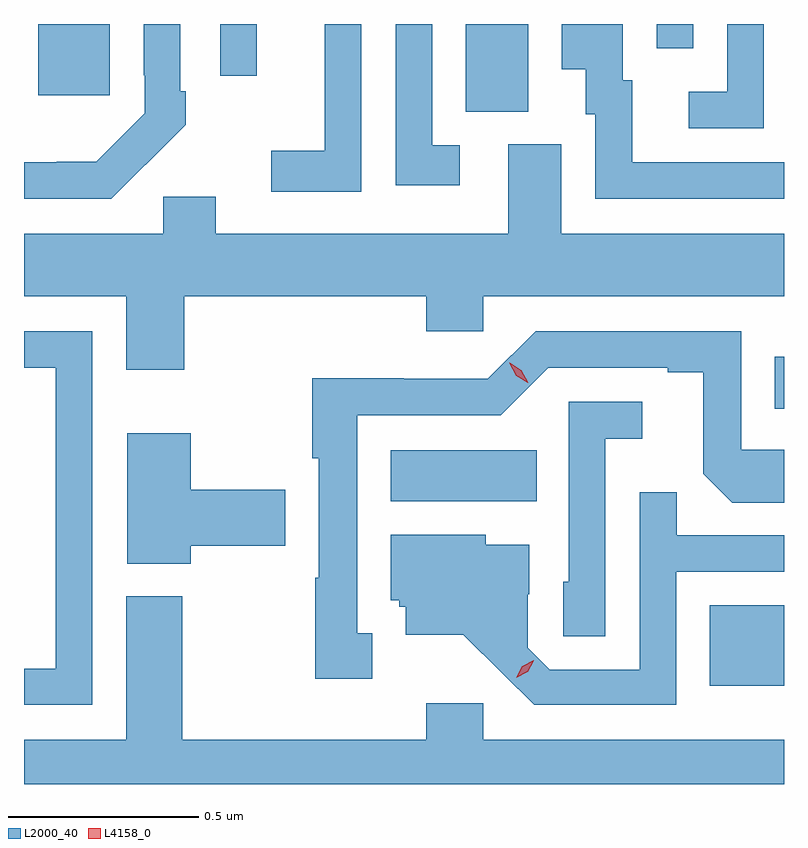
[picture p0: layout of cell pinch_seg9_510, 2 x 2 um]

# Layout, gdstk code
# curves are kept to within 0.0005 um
import gdstk
lib = gdstk.Library(unit=1e-6, precision=1e-09)
def R(c, l, rs):  # rectangles x0, y0, x1, y1
    for r in rs: c.add(gdstk.rectangle(r[:2], r[2:], *l))
def P(c, l, *ps):  # polygons
    for p in ps: c.add(gdstk.Polygon(p, *l))
L2000_40 = (2000, 40)
L4158_0 = (4158, 0)

pinch_seg9_510 = lib.new_cell('pinch_seg9_510')
R(pinch_seg9_510, L2000_40, [(295.61,1202.054,295.805,1202.266), (294.77,1202.54,295.154,1202.674), (295.781,1202.784,295.805,1202.92), (294.968,1203.565,295.132,1203.796), (293.843,1203.609,294.031,1203.796), (294.321,1203.66,294.417,1203.796), (295.47,1203.732,295.566,1203.796)])
P(pinch_seg9_510, L2000_40, [(295.805,1203.432),(295.405,1203.432),(295.405,1203.648),(295.381,1203.648),(295.381,1203.796),(295.22,1203.796),(295.22,1203.677),(295.283,1203.677),(295.283,1203.558),(295.308,1203.558),(295.308,1203.336),(295.805,1203.336)],
  [(294.125,1203.427),(294.126,1203.426),(294.231,1203.531),(294.231,1203.619),(294.216,1203.619),(294.216,1203.796),(294.12,1203.796),(294.12,1203.661),(294.123,1203.661),(294.123,1203.561),(293.995,1203.433),(293.891,1203.433),(293.891,1203.432),(293.805,1203.432),(293.805,1203.336),(294.034,1203.336)],
  [(295.752,1203.796),(295.656,1203.796),(295.656,1203.618),(295.554,1203.618),(295.554,1203.522),(295.752,1203.522)],
  [(294.693,1203.796),(294.596,1203.796),(294.596,1203.463),(294.456,1203.463),(294.456,1203.354),(294.693,1203.354)],
  [(294.952,1203.477),(294.879,1203.477),(294.879,1203.796),(294.783,1203.796),(294.783,1203.372),(294.952,1203.372)],
  [(294.227,1203.08),(294.863,1203.08),(294.863,1202.987),(295.014,1202.987),(295.014,1203.08),(295.805,1203.08),(295.805,1203.244),(295.219,1203.244),(295.219,1203.48),(295.079,1203.48),(295.079,1203.244),(294.31,1203.244),(294.31,1203.342),(294.171,1203.342),(294.171,1203.244),(293.805,1203.244),(293.805,1203.08),(294.074,1203.08),(294.074,1202.886),(294.227,1202.886)],
  [(293.985,1202.988),(293.805,1202.988),(293.805,1202.892),(293.889,1202.892),(293.889,1202.099),(293.805,1202.099),(293.805,1202.004),(293.985,1202.004)],
  [(294.721,1202.193),(294.682,1202.193),(294.682,1202.766),(295.059,1202.766),(295.185,1202.892),(295.499,1202.892),(295.499,1202.88),(295.593,1202.88),(295.593,1202.612),(295.669,1202.536),(295.805,1202.536),(295.805,1202.676),(295.692,1202.676),(295.692,1202.988),(295.152,1202.988),(295.026,1202.862),(294.804,1202.862),(294.804,1202.864),(294.564,1202.864),(294.564,1202.653),(294.581,1202.653),(294.581,1202.339),(294.571,1202.339),(294.571,1202.073),(294.721,1202.073)],
  [(295.335,1202.705),(295.432,1202.705),(295.432,1202.802),(295.239,1202.802),(295.239,1202.328),(295.224,1202.328),(295.224,1202.185),(295.335,1202.185)],
  [(294.244,1202.423),(294.493,1202.423),(294.493,1202.57),(294.244,1202.57),(294.244,1202.719),(294.077,1202.719),(294.077,1202.375),(294.244,1202.375)],
  [(295.521,1202.355),(295.805,1202.355),(295.805,1202.451),(295.523,1202.451),(295.523,1202.564),(295.425,1202.564),(295.425,1202.097),(295.188,1202.097),(295.131,1202.154),(295.131,1202.296),(295.135,1202.296),(295.135,1202.425),(295.02,1202.425),(295.02,1202.452),(294.77,1202.452),(294.77,1202.28),(294.792,1202.28),(294.792,1202.262),(294.809,1202.262),(294.809,1202.189),(294.961,1202.189),(295.148,1202.004),(295.521,1202.004)],
  [(295.805,1201.912),(295.014,1201.912),(295.014,1202.008),(294.863,1202.008),(294.863,1201.912),(294.222,1201.912),(294.222,1202.29),(294.074,1202.29),(294.074,1201.912),(293.805,1201.912),(293.805,1201.796),(295.805,1201.796)])
P(pinch_seg9_510, L4158_0, [(295.1,1202.076),(295.1,1202.076),(295.116,1202.106),(295.146,1202.122),(295.147,1202.122),(295.147,1202.121),(295.13,1202.092),(295.1,1202.076)],
  [(295.131,1202.852),(295.1,1202.871),(295.082,1202.904),(295.082,1202.904),(295.083,1202.904),(295.114,1202.885),(295.132,1202.852),(295.132,1202.852)])

lib.write_gds('pinch_seg9_510.gds')
